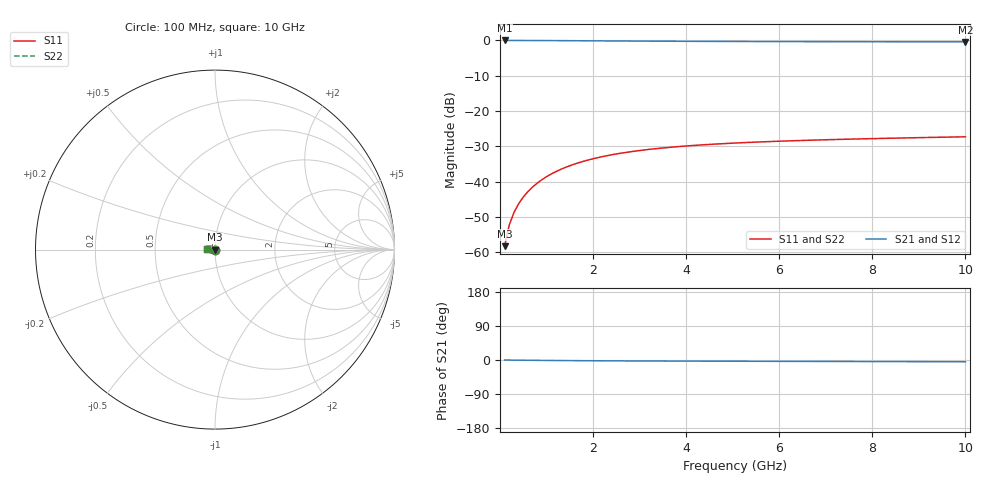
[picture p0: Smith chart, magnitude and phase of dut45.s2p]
! Touchstone file exported from HFSS 2024.1.0
!  File:  C:/UserFiles/LocalFiles/RDL_TSV_Batchsim/temp_TSV1_45_1778748399.aedt
!  Generated:  04:53:10 PM May 14, 2026
!  Design:  TSV1
!  Project:  temp_TSV1_45_1778748399
!  Setup:  Setup1
!  Solution:  Sweep
! Variables:
!  dtsv = 11.66um
!  hbump = 3um
!  htsv = 70.91um
!  lrdl = 252.1521522um
!  p = 40
!  p1 = 55.63um
!  t = 500um
!  trdl = 3um
!  wrdl = 24.89489489um
# GHz S MA R 50.000000
! Terminal data exported
! Port[1] = TSV22_T1
! Port[2] = TSV22_T2
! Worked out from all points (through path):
!   100 points, 100 MHz to 10 GHz, reference 50 ohm
!   highest |S21| = 0.00 dB at 100 MHz (marker M1); lowest = -0.4 dB at 10 GHz (marker M2)
!   lowest |S11| = -58.3 dB at 100 MHz (marker M3), VSWR 1.00, Z = 50 - j0.121 ohm
!   |S11| at or under -10 dB: start of sweep to end of sweep
!   |S22| runs from -58.3 to -27.3 dB; largest |S21 - S12| = 1e-14
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0.1  0.001215 -87.3  0.9999 -0.1  0.9999 -0.1  0.001215 -87.3
! Gamma 0 0 0 0
! Port Impedance 50 0 50 0
0.2  0.002424 -91.4  0.9997 -0.2  0.9997 -0.2  0.002424 -91.4
0.3  0.003632 -94.0  0.9995 -0.4  0.9995 -0.4  0.003632 -94.0
0.4  0.004834 -96.3  0.9992 -0.5  0.9992 -0.5  0.004834 -96.3
0.5  0.006026 -98.4  0.9988 -0.6  0.9988 -0.6  0.006026 -98.4
0.6  0.007204 -100.5  0.9984 -0.7  0.9984 -0.7  0.007204 -100.5
0.7  0.008364 -102.5  0.9979 -0.8  0.9979 -0.8  0.008364 -102.5
0.8  0.009504 -104.4  0.9973 -0.9  0.9973 -0.9  0.009504 -104.4
0.9  0.01062 -106.4  0.9967 -1.0  0.9967 -1.0  0.01062 -106.4
1.1  0.01278 -110.1  0.9953 -1.2  0.9953 -1.2  0.01278 -110.1
1.4  0.01581 -115.4  0.9929 -1.5  0.9929 -1.5  0.01581 -115.4
1.6  0.01767 -118.7  0.9912 -1.7  0.9912 -1.7  0.01767 -118.7
1.8  0.01942 -121.9  0.9895 -1.8  0.9895 -1.8  0.01942 -121.9
2.1  0.02181 -126.5  0.9868 -2.0  0.9868 -2.0  0.02181 -126.5
2.5  0.02461 -132.0  0.9833 -2.3  0.9833 -2.3  0.02461 -132.0
2.9  0.02699 -137.0  0.98 -2.5  0.98 -2.5  0.02699 -137.0
3.4  0.0295 -142.6  0.9763 -2.7  0.9763 -2.7  0.0295 -142.6
4.2  0.03264 -150.4  0.9713 -3.0  0.9713 -3.0  0.03264 -150.4
5.1  0.03528 -157.7  0.9669 -3.3  0.9669 -3.3  0.03528 -157.7
6.7  0.03862 -168.1  0.9615 -3.7  0.9615 -3.7  0.03862 -168.1
8.4  0.04116 -177.0  0.9577 -4.2  0.9577 -4.2  0.04115 -177.0
10  0.0431 176.1  0.9553 -4.7  0.9553 -4.7  0.0431 176.1
